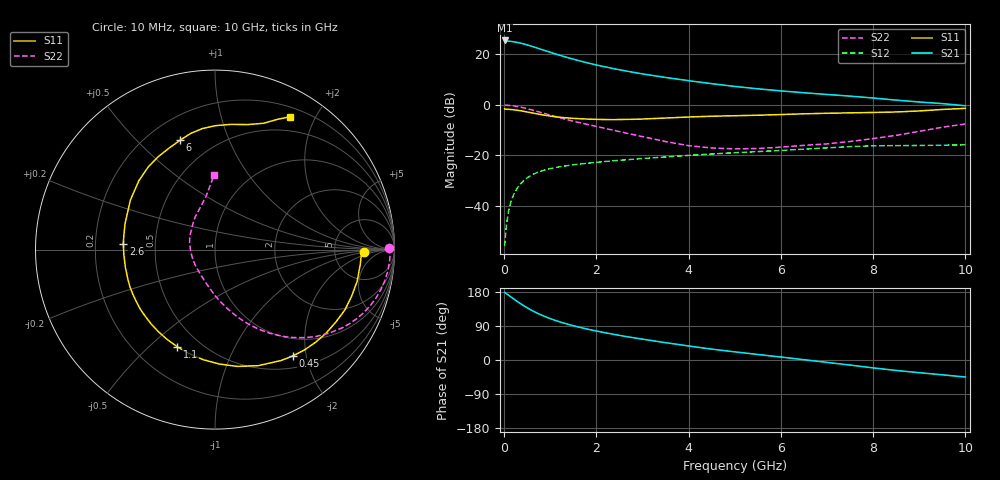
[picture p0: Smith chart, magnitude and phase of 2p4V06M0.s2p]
! (c) 2009  Infineon Technologies AG, Munich
! Infineon Technologies  Discrete & RF Semiconductors
! BFP420
! VCE =  4.0 V,  IC =  6.0 mA
! Common Emitter S-Parameters:  Nov 2009
# GHz  S  MA  R  50
!  f  S11  S21  S12  S22
! GHz  MAG  ANG  MAG  ANG  MAG  ANG  MAG  ANG
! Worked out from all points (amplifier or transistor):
!   46 points, 10 MHz to 10 GHz, reference 50 ohm
!   highest |S21| = 25.4 dB at 10 MHz (marker M1)
!   |S21| within 3 dB of that: start of sweep to 718.1 MHz
!   unconditionally stable (mu >= 1): 2.842 GHz to end of sweep
!   at 300 MHz: K = 0.16, MSG = 28.6 dB, |S12| = -32.5 dB
!   at 1.7 GHz: K = 0.65, MSG = 20.2 dB, |S12| = -23.3 dB
!   at 10 GHz: K = 1.11, MAG = 5.7 dB, |S12| = -15.8 dB
!   lowest NFmin = 0.70 dB at 900 MHz
!   S11 on the Smith chart (normalised r, x): 10 MHz: 11, -1; 450 MHz: 0.68, -1.76; 1.1 GHz: 0.38, -0.62; 2.6 GHz: 0.32, +0.03; 6 GHz: 0.33, +0.68; 10 GHz: 0.32, +1.66
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0.01  0.8287 -0.8  18.65 178.7  0.0016 33.0  0.9714 0.6
0.02  0.8151 -2.6  18.11 177.9  0.0021 59.5  0.9753 -1.3
0.1  0.8113 -12.6  18.05 170.6  0.0083 76.1  0.9708 -6.9
0.15  0.8044 -18.8  17.86 166.1  0.0123 76.1  0.9624 -10.3
0.25  0.7849 -31.0  17.25 157.3  0.02 71.8  0.9361 -16.9
0.35  0.7616 -42.8  16.56 149.2  0.027 67.0  0.8999 -23.0
0.45  0.7339 -53.9  15.69 141.4  0.0332 62.5  0.8576 -28.6
0.6  0.6902 -69.5  14.29 130.9  0.0409 56.4  0.7893 -36.1
0.7  0.6629 -79.1  13.37 124.7  0.0451 52.9  0.7442 -40.5
0.9  0.6167 -96.2  11.65 113.9  0.0518 47.3  0.6608 -47.9
1.1  0.5806 -111.3  10.18 104.9  0.0571 43.1  0.5885 -54.0
1.4  0.5463 -130.5  8.43 93.7  0.0631 38.5  0.4989 -61.8
1.7  0.5254 -146.6  7.124 84.5  0.0682 35.4  0.4286 -68.2
2.2  0.5092 -168.6  5.58 71.7  0.0756 31.6  0.3391 -77.7
2.6  0.5122 176.2  4.72 62.8  0.081 29.1  0.2813 -85.7
3.5  0.5462 149.7  3.459 45.7  0.0929 24.3  0.1871 -107.3
4.5  0.5927 128.7  2.609 28.7  0.1063 18.6  0.1397 -142.9
5.5  0.6205 114.4  2.065 14.6  0.1185 12.9  0.1365 -177.2
6  0.6398 107.7  1.878 7.8  0.1249 10.2  0.145 166.9
7  0.6783 95.8  1.596 -6.3  0.1404 3.5  0.1685 142.0
8.5  0.7198 75.4  1.234 -27.6  0.1556 -10.7  0.2482 109.4
10  0.8482 60.7  0.955 -44.9  0.1613 -20.1  0.4163 90.7
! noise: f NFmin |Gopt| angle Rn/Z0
0.9  0.7  0.16  29  0.14
1.8  1.08  0.06  113  0.12
2.4  1.17  0.11  132  0.13
3  1.26  0.17  176  0.11
4  1.43  0.31  -139  0.13
5  1.82  0.38  -115  0.24
6  2.3  0.43  -99  0.37
